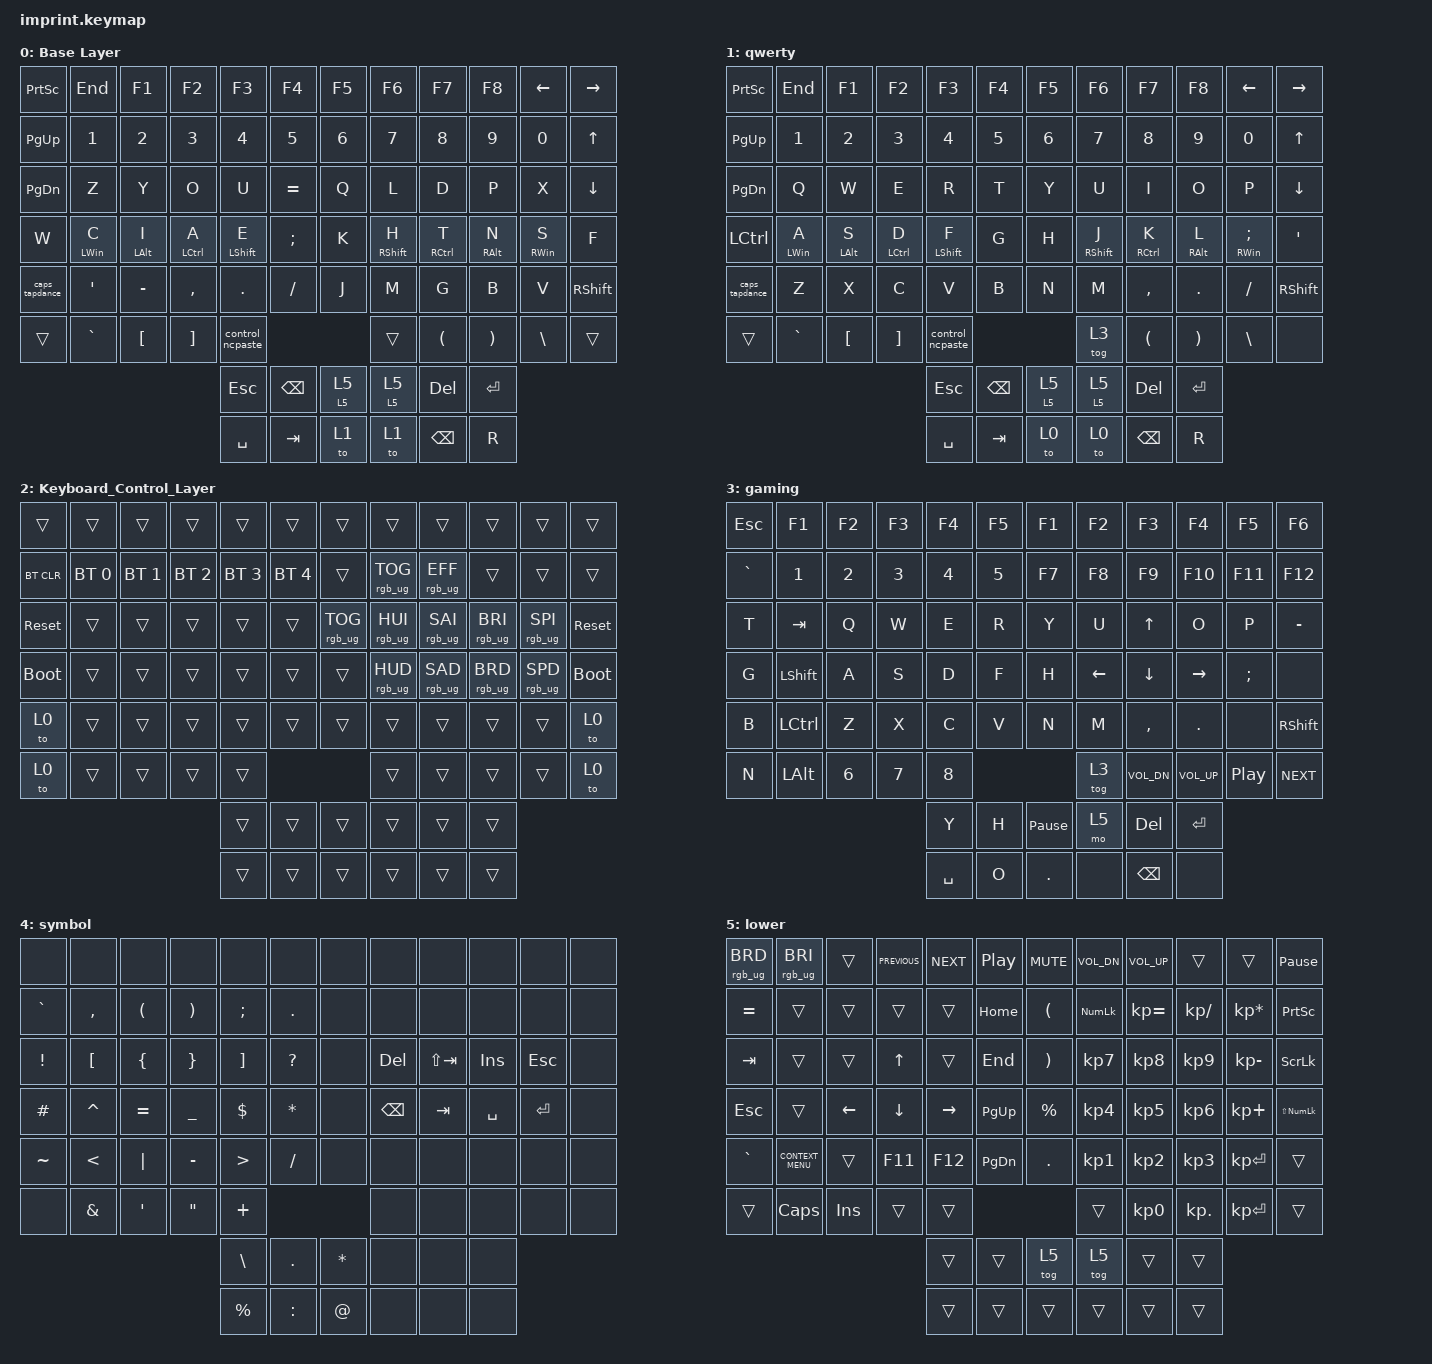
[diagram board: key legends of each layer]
#include <input/processors.dtsi>
#include <dt-bindings/zmk/input_transform.h>
#include <behaviors.dtsi>
#include <dt-bindings/zmk/bt.h>
#include <dt-bindings/zmk/keys.h>
#include <dt-bindings/zmk/rgb.h>

/ {
    chosen { zmk,matrix-transform = &imprint_function_row_full_bottom_row; };

    behaviors {
        hrow: hrow {
            compatible = "zmk,behavior-hold-tap";
            label = "HROW";
            bindings = <&kp>, <&kp>;

            #binding-cells = <2>;
            tapping-term-ms = <250>;
            hold-trigger-key-positions = <40 39 38 37 43 44 45 46 13 14 15 16 25 26 27 28 17 29 41 49 50 51 52 61 62 63 53 81 19 20 21 22 31 32 33 34 43 44 45 46 55 56 57 58 66 67 68 36 47 18 30 42 54 70 71 74 80 77 76 75 0 1 2 3 4 5 6 7 8 9 10 11 23 35 59 65 64 48 24 12>;
            flavor = "tap-preferred";
            quick-tap-ms = <150>;
            require-prior-idle-ms = <100>;
        };

        caps_tapdance: caps_tapdance {
            compatible = "zmk,behavior-tap-dance";
            label = "CAPS_TAPDANCE";
            #binding-cells = <0>;
            bindings = <&caps_word>, <&kp CAPSLOCK>;
        };

        lower_hold_tap: lower_hold_tap {
            compatible = "zmk,behavior-hold-tap";
            label = "LOWER_HOLD_TAP";
            bindings = <&mo>, <&tog>;

            #binding-cells = <2>;
            tapping-term-ms = <200>;
            hold-trigger-key-positions = <0 1 2 3 4 5 6 7 8 9 10 11 12 13 14 15 16 17 18 19 20 21 22 23 24 25 26 27 28 29 30 31 32 33 34 35 36 37 38 39 40 41 42 43 44 45 46 47 48 49 50 51 52 53 54 55 56 57 58 59 60 61 62 63 64 65 66 67 68 69 70 71 74 75 76 77 78 79 80 81>;
        };

        nc_paste_fslash: nc_paste_fslash {
            compatible = "zmk,behavior-tap-dance";
            label = "NC_PASTE_FSLASH";
            #binding-cells = <0>;
            bindings = <&kp FSLH>, <&kp LS(LC(X))>;
        };

        nc_paste_b: nc_paste_b {
            compatible = "zmk,behavior-tap-dance";
            label = "NC_PASTE_B";
            #binding-cells = <0>;
            bindings = <&kp B>, <&kp LS(LC(X))>;
        };

        control_ncpaste: control_ncpaste {
            compatible = "zmk,behavior-tap-dance";
            label = "CONTROL_NCPASTE";
            #binding-cells = <0>;
            bindings = <&mo 2>, <&kp LS(LC(X))>;
        };

        hrow_shift_l: hrow_shift_l {
            compatible = "zmk,behavior-hold-tap";
            label = "HROW_SHIFT_L";
            bindings = <&kp>, <&kp>;

            #binding-cells = <2>;
            tapping-term-ms = <175>;
            hold-trigger-key-positions = <19 6 7 8 9 10 11 18 19 20 21 22 23 30 31 32 33 34 35 42 43 44 45 46 47 54 55 56 57 58 59 65 66 67 68 69 73 74 75 79 80 81 70 77 76 71 72 78>;
            flavor = "balanced";
            quick-tap-ms = <125>;
        };

        hrow_shift_r: hrow_shift_r {
            compatible = "zmk,behavior-hold-tap";
            label = "HROW_SHIFT_R";
            bindings = <&kp>, <&kp>;

            #binding-cells = <2>;
            tapping-term-ms = <175>;
            flavor = "balanced";
            quick-tap-ms = <125>;
            hold-trigger-key-positions = <0 1 2 3 4 5 12 13 14 15 16 17 24 25 26 27 28 29 36 37 38 39 40 41 48 49 50 51 52 53 60 61 62 63 64 70 71 72 76 77 78 74 73 79 80 81 75>;
        };
    };

    keymap {
        compatible = "zmk,keymap";

        base_layer {
            bindings = <
&kp PRINTSCREEN  &kp END           &kp F1            &kp F2                &kp F3                      &kp F4                                &kp F5               &kp F6                       &kp F7                 &kp F8                 &kp LEFT_ARROW     &kp RIGHT_ARROW
&kp PAGE_UP      &kp N1            &kp N2            &kp N3                &kp N4                      &kp N5                                &kp N6               &kp N7                       &kp N8                 &kp N9                 &kp N0             &kp UP_ARROW
&kp PAGE_DOWN    &kp Z             &kp Y             &kp O                 &kp U                       &kp EQUAL                             &kp Q                &kp L                        &kp D                  &kp P                  &kp X              &kp DOWN_ARROW
&kp W            &hrow LEFT_WIN C  &hrow LEFT_ALT I  &hrow LEFT_CONTROL A  &hrow_shift_l LEFT_SHIFT E  &kp SEMICOLON                         &kp K                &hrow_shift_r RIGHT_SHIFT H  &hrow RIGHT_CONTROL T  &hrow RIGHT_ALT N      &hrow RIGHT_WIN S  &kp F
&caps_tapdance   &kp SQT           &kp MINUS         &kp COMMA             &kp PERIOD                  &kp FSLH                              &kp J                &kp M                        &kp G                  &kp B                  &kp V              &kp RSHFT
&trans           &kp GRAVE         &kp LEFT_BRACKET  &kp RIGHT_BRACKET     &control_ncpaste                                                                       &trans                       &kp LEFT_PARENTHESIS   &kp RIGHT_PARENTHESIS  &kp BACKSLASH      &trans
                                                                           &kp ESCAPE                  &kp BACKSPACE  &lower_hold_tap 5 5    &lower_hold_tap 5 5  &kp DEL                      &kp ENTER
                                                                           &kp SPACE                   &kp TAB        &to 1                  &to 1                &kp BACKSPACE                &kp R
            >;

            label = "Base Layer";
        };

        qwerty {
            bindings = <
&kp PRINTSCREEN   &kp END           &kp F1            &kp F2                &kp F3                      &kp F4                                &kp F5               &kp F6                       &kp F7                 &kp F8                 &kp LEFT_ARROW             &kp RIGHT_ARROW
&kp PAGE_UP       &kp N1            &kp N2            &kp N3                &kp N4                      &kp N5                                &kp N6               &kp N7                       &kp N8                 &kp N9                 &kp N0                     &kp UP_ARROW
&kp PAGE_DOWN     &kp Q             &kp W             &kp E                 &kp R                       &kp T                                 &kp Y                &kp U                        &kp I                  &kp O                  &kp P                      &kp DOWN_ARROW
&kp LEFT_CONTROL  &hrow LEFT_WIN A  &hrow LEFT_ALT S  &hrow LEFT_CONTROL D  &hrow_shift_l LEFT_SHIFT F  &kp G                                 &kp H                &hrow_shift_r RIGHT_SHIFT J  &hrow RIGHT_CONTROL K  &hrow RIGHT_ALT L      &hrow RIGHT_WIN SEMICOLON  &kp SINGLE_QUOTE
&caps_tapdance    &kp Z             &kp X             &kp C                 &kp V                       &kp B                                 &kp N                &kp M                        &kp COMMA              &kp PERIOD             &kp SLASH                  &kp RSHFT
&trans            &kp GRAVE         &kp LEFT_BRACKET  &kp RIGHT_BRACKET     &control_ncpaste                                                                       &tog 3                       &kp LEFT_PARENTHESIS   &kp RIGHT_PARENTHESIS  &kp BACKSLASH              &none
                                                                            &kp ESCAPE                  &kp BACKSPACE  &lower_hold_tap 5 5    &lower_hold_tap 5 5  &kp DEL                      &kp ENTER
                                                                            &kp SPACE                   &kp TAB        &to 0                  &to 0                &kp BACKSPACE                &kp R
            >;
        };

        Keyboard_Control_Layer {
            bindings = <
&trans       &trans        &trans        &trans        &trans        &trans                  &trans           &trans           &trans           &trans           &trans           &trans
&bt BT_CLR   &bt BT_SEL 0  &bt BT_SEL 1  &bt BT_SEL 2  &bt BT_SEL 3  &bt BT_SEL 4            &trans           &rgb_ug RGB_TOG  &rgb_ug RGB_EFF  &trans           &trans           &trans
&sys_reset   &trans        &trans        &trans        &trans        &trans                  &rgb_ug RGB_TOG  &rgb_ug RGB_HUI  &rgb_ug RGB_SAI  &rgb_ug RGB_BRI  &rgb_ug RGB_SPI  &sys_reset
&bootloader  &trans        &trans        &trans        &trans        &trans                  &trans           &rgb_ug RGB_HUD  &rgb_ug RGB_SAD  &rgb_ug RGB_BRD  &rgb_ug RGB_SPD  &bootloader
&to 0        &trans        &trans        &trans        &trans        &trans                  &trans           &trans           &trans           &trans           &trans           &to 0
&to 0        &trans        &trans        &trans        &trans                                                 &trans           &trans           &trans           &trans           &to 0
                                                       &trans        &trans        &trans    &trans           &trans           &trans
                                                       &trans        &trans        &trans    &trans           &trans           &trans
            >;
        };

        gaming {
            bindings = <
&kp ESC    &kp F1          &kp F2  &kp F3  &kp F4     &kp F5                     &kp F1  &kp F2         &kp F3        &kp F4        &kp F5            &kp F6
&kp GRAVE  &kp N1          &kp N2  &kp N3  &kp N4     &kp N5                     &kp F7  &kp F8         &kp F9        &kp F10       &kp F11           &kp F12
&kp T      &kp TAB         &kp Q   &kp W   &kp E      &kp R                      &kp Y   &kp U          &kp UP        &kp O         &kp P             &kp MINUS
&kp G      &kp LEFT_SHIFT  &kp A   &kp S   &kp D      &kp F                      &kp H   &kp LEFT       &kp DOWN      &kp RIGHT     &kp SEMI          &none
&kp B      &kp LCTRL       &kp Z   &kp X   &kp C      &kp V                      &kp N   &kp M          &kp COMMA     &kp DOT       &none             &kp RSHFT
&kp N      &kp LALT        &kp N6  &kp N7  &kp N8                                        &tog 3         &kp C_VOL_DN  &kp C_VOL_UP  &kp C_PLAY_PAUSE  &kp C_NEXT
                                           &kp Y      &kp H   &kp PAUSE_BREAK    &mo 5   &kp DELETE     &kp ENTER
                                           &kp SPACE  &kp O   &kp PERIOD         &none   &kp BACKSPACE  &none
            >;
        };

        symbol {
            bindings = <
&none      &none             &none                 &none                  &none              &none                         &none  &none          &none        &none      &none      &none
&kp GRAVE  &kp COMMA         &kp LEFT_PARENTHESIS  &kp RIGHT_PARENTHESIS  &kp SEMI           &kp PERIOD                    &none  &none          &none        &none      &none      &none
&kp EXCL   &kp LEFT_BRACKET  &kp LEFT_BRACE        &kp RIGHT_BRACE        &kp RIGHT_BRACKET  &kp QMARK                     &none  &kp DEL        &kp LS(TAB)  &kp INS    &kp ESC    &none
&kp HASH   &kp CARET         &kp EQUAL             &kp UNDER              &kp DOLLAR         &kp ASTERISK                  &none  &kp BACKSPACE  &kp TAB      &kp SPACE  &kp ENTER  &none
&kp TILDE  &kp LESS_THAN     &kp PIPE              &kp MINUS              &kp GREATER_THAN   &kp FSLH                      &none  &none          &none        &none      &none      &none
&none      &kp AMPS          &kp SQT               &kp DOUBLE_QUOTES      &kp PLUS                                                &none          &none        &none      &none      &none
                                                                          &kp BSLH           &kp PERIOD    &kp ASTERISK    &none  &none          &none
                                                                          &kp PERCENT        &kp COLON     &kp AT          &none  &none          &none
            >;
        };

        lower {
            bindings = <
&rgb_ug RGB_BRD  &rgb_ug RGB_BRI     &trans          &kp C_PREVIOUS  &kp C_NEXT       &kp C_PLAY_PAUSE            &kp C_MUTE             &kp C_VOL_DN    &kp C_VOL_UP  &trans         &trans           &kp PAUSE_BREAK
&kp EQUAL        &trans              &trans          &trans          &trans           &kp HOME                    &kp LEFT_PARENTHESIS   &kp KP_NUMLOCK  &kp KP_EQUAL  &kp KP_DIVIDE  &kp KP_MULTIPLY  &kp PRINTSCREEN
&kp TAB          &trans              &trans          &kp UP_ARROW    &trans           &kp END                     &kp RIGHT_PARENTHESIS  &kp KP_N7       &kp KP_N8     &kp KP_N9      &kp KP_MINUS     &kp SCROLLLOCK
&kp ESCAPE       &trans              &kp LEFT_ARROW  &kp DOWN_ARROW  &kp RIGHT_ARROW  &kp PAGE_UP                 &kp PERCENT            &kp KP_N4       &kp KP_N5     &kp KP_N6      &kp KP_PLUS      &kp LS(KP_NUMLOCK)
&kp GRAVE        &kp K_CONTEXT_MENU  &trans          &kp F11         &kp F12          &kp PAGE_DOWN               &kp PERIOD             &kp KP_N1       &kp KP_N2     &kp KP_N3      &kp KP_ENTER     &trans
&trans           &kp CAPSLOCK        &kp INSERT      &trans          &trans                                                              &trans          &kp KP_N0     &kp KP_DOT     &kp KP_ENTER     &trans
                                                                     &trans           &trans            &tog 5    &tog 5                 &trans          &trans
                                                                     &trans           &trans            &trans    &trans                 &trans          &trans
            >;
        };
    };
};

// right hand trackball configuration
// &trackball_peripheral_listener {
//    input-processors =
//     activate layer 3 within 500ms of the trackball moving
//     <&zip_temp_layer 3 500>;
// };
//left hand trackball configuration

&trackball_central_listener {
    input-processors =
        // multiply sensitivity by 1, divide by 3 (make it slower for scrolling),,,,,,,,,,,,,,,,,,,,,,,,,,,,,,,,,,,,,,,,,,,,,,,,,,,,,,,,,,,,,,
        <&zip_xy_scaler 1 3>,
        // make this trackball output scrolling events by default instead of cursor movement,,,,,,,,,,,,,,,,,,,,,,,,,,,,,,,,,,,,,,,,,,,,,,,,,,,,,,,,,,,,,,
        <&zip_xy_to_scroll_mapper>,
        // invert vertical scrolling so that the view moves in the same direction as the top of the trackball.,,,,,,,,,,,,,,,,,,,,,,,,,,,,,,,,,,,,,,,,,,,,,,,,,,,,,,,,,,,,,,
        <&zip_scroll_transform INPUT_TRANSFORM_Y_INVERT>;
};
